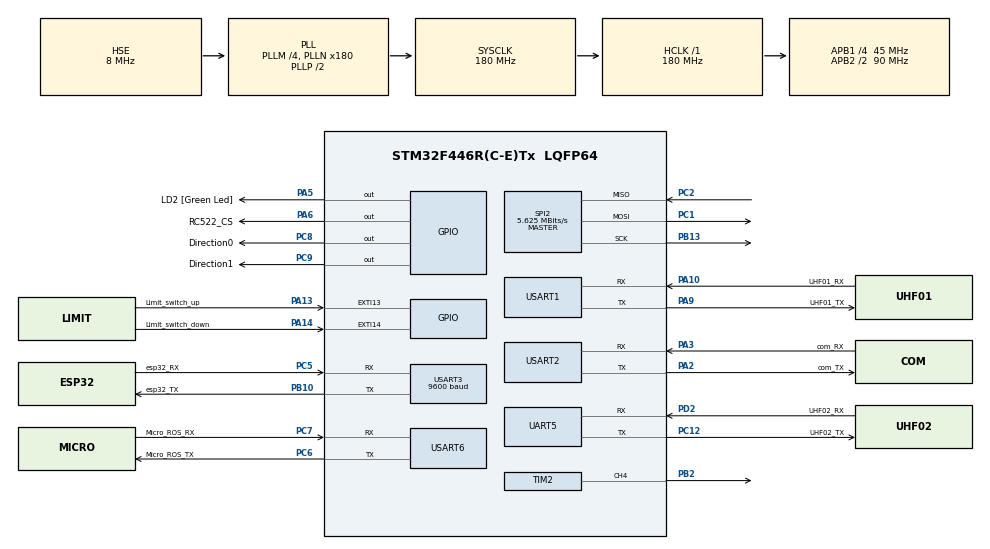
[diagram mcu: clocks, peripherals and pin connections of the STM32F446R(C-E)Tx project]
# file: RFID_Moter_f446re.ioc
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Dma.Request0=USART1_RX
Dma.Request1=USART2_RX
Dma.Request2=USART6_RX
Dma.Request3=USART6_TX
Dma.Request4=UART5_RX
Dma.UART5_RX.4.Direction=DMA_PERIPH_TO_MEMORY
Dma.UART5_RX.4.FIFOMode=DMA_FIFOMODE_DISABLE
Dma.UART5_RX.4.Instance=DMA1_Stream0
Dma.UART5_RX.4.MemDataAlignment=DMA_MDATAALIGN_BYTE
Dma.UART5_RX.4.MemInc=DMA_MINC_ENABLE
Dma.UART5_RX.4.Mode=DMA_CIRCULAR
Dma.UART5_RX.4.PeriphDataAlignment=DMA_PDATAALIGN_BYTE
Dma.UART5_RX.4.PeriphInc=DMA_PINC_DISABLE
Dma.UART5_RX.4.Priority=DMA_PRIORITY_LOW
Dma.USART1_RX.0.Direction=DMA_PERIPH_TO_MEMORY
Dma.USART1_RX.0.FIFOMode=DMA_FIFOMODE_DISABLE
Dma.USART1_RX.0.Instance=DMA2_Stream5
Dma.USART1_RX.0.MemDataAlignment=DMA_MDATAALIGN_BYTE
Dma.USART1_RX.0.MemInc=DMA_MINC_ENABLE
Dma.USART1_RX.0.Mode=DMA_CIRCULAR
Dma.USART1_RX.0.PeriphDataAlignment=DMA_PDATAALIGN_BYTE
Dma.USART1_RX.0.PeriphInc=DMA_PINC_DISABLE
Dma.USART1_RX.0.Priority=DMA_PRIORITY_LOW
Dma.USART2_RX.1.Direction=DMA_PERIPH_TO_MEMORY
Dma.USART2_RX.1.FIFOMode=DMA_FIFOMODE_DISABLE
Dma.USART2_RX.1.Instance=DMA1_Stream5
Dma.USART2_RX.1.MemDataAlignment=DMA_MDATAALIGN_BYTE
Dma.USART2_RX.1.MemInc=DMA_MINC_ENABLE
Dma.USART2_RX.1.Mode=DMA_NORMAL
Dma.USART2_RX.1.PeriphDataAlignment=DMA_PDATAALIGN_BYTE
Dma.USART2_RX.1.PeriphInc=DMA_PINC_DISABLE
Dma.USART2_RX.1.Priority=DMA_PRIORITY_LOW
Dma.USART6_RX.2.Direction=DMA_PERIPH_TO_MEMORY
Dma.USART6_RX.2.FIFOMode=DMA_FIFOMODE_DISABLE
Dma.USART6_RX.2.Instance=DMA2_Stream1
Dma.USART6_RX.2.MemDataAlignment=DMA_MDATAALIGN_BYTE
Dma.USART6_RX.2.MemInc=DMA_MINC_ENABLE
Dma.USART6_RX.2.Mode=DMA_CIRCULAR
Dma.USART6_RX.2.PeriphDataAlignment=DMA_PDATAALIGN_BYTE
Dma.USART6_RX.2.PeriphInc=DMA_PINC_DISABLE
Dma.USART6_RX.2.Priority=DMA_PRIORITY_VERY_HIGH
Dma.USART6_TX.3.Direction=DMA_MEMORY_TO_PERIPH
Dma.USART6_TX.3.FIFOMode=DMA_FIFOMODE_DISABLE
Dma.USART6_TX.3.Instance=DMA2_Stream6
Dma.USART6_TX.3.MemDataAlignment=DMA_MDATAALIGN_BYTE
Dma.USART6_TX.3.MemInc=DMA_MINC_ENABLE
Dma.USART6_TX.3.Mode=DMA_NORMAL
Dma.USART6_TX.3.PeriphDataAlignment=DMA_PDATAALIGN_BYTE
Dma.USART6_TX.3.PeriphInc=DMA_PINC_DISABLE
Dma.USART6_TX.3.Priority=DMA_PRIORITY_LOW
FREERTOS.Tasks01=defaultTask,0,128,StartDefaultTask,Default,NULL,Dynamic,NULL,NULL;rfidExecuteTask,0,128,StartRfidExecuteTask,Default,NULL,Dynamic,NULL,NULL;tagNumTransmitT,0,128,StartTagNumTransmitTask,Default,NULL,Dynamic,NULL,NULL;rc522_read,0,128,rc522_readTask,Default,NULL,Dynamic,NULL,NULL;motorTask,-2,128,controlmotor,Default,NULL,Dynamic,NULL,NULL;transmitTask2,0,128,StarttransmitTask2,Default,NULL,Dynamic,NULL,NULL;RosTask,-2,3000,StartRosTask,Default,NULL,Static,RosTaskBuffer,RosTaskControlBlock
FREERTOS.configUSE_NEWLIB_REENTRANT=1
Mcu.Family=STM32F4
Mcu.Name=STM32F446R(C-E)Tx
Mcu.Package=LQFP64
NVIC.DMA1_Stream0_IRQn=true\:5\:0\:false\:false\:true\:true\:false\:true\:true
NVIC.DMA1_Stream5_IRQn=true\:5\:0\:false\:false\:true\:true\:false\:true\:true
NVIC.DMA2_Stream1_IRQn=true\:5\:0\:false\:false\:true\:true\:false\:true\:true
NVIC.DMA2_Stream5_IRQn=true\:5\:0\:false\:false\:true\:false\:false\:true\:true
NVIC.DMA2_Stream6_IRQn=true\:5\:0\:false\:false\:true\:true\:false\:true\:true
NVIC.EXTI15_10_IRQn=true\:5\:0\:false\:false\:true\:true\:true\:true\:true
NVIC.PriorityGroup=NVIC_PRIORITYGROUP_4
NVIC.SPI2_IRQn=true\:5\:0\:false\:false\:true\:true\:true\:true\:true
NVIC.TIM4_IRQn=true\:15\:0\:false\:false\:true\:false\:false\:true\:true
NVIC.TimeBase=TIM4_IRQn
NVIC.TimeBaseIP=TIM4
NVIC.USART1_IRQn=true\:5\:0\:false\:false\:true\:true\:true\:true\:true
NVIC.USART3_IRQn=true\:5\:0\:false\:false\:true\:true\:true\:true\:true
NVIC.USART6_IRQn=true\:5\:0\:false\:false\:true\:true\:true\:true\:true
PA10.GPIO_Label=UHF01_RX
PA10.Mode=Asynchronous
PA10.Signal=USART1_RX
PA13.GPIO_Label=Limit_switch_up
PA13.GPIO_PuPd=GPIO_PULLUP
PA13.Signal=GPXTI13
PA14.GPIO_Label=Limit_switch_down
PA14.GPIO_PuPd=GPIO_PULLDOWN
PA14.Signal=GPXTI14
PA2.GPIO_Label=com_TX
PA2.Mode=Asynchronous
PA2.Signal=USART2_TX
PA3.GPIO_Label=com_RX
PA3.Mode=Asynchronous
PA3.Signal=USART2_RX
PA5.GPIO_Label=LD2 [Green Led]
PA5.Signal=GPIO_Output
PA6.GPIO_Label=RC522_CS
PA6.Signal=GPIO_Output
PA9.GPIO_Label=UHF01_TX
PA9.Mode=Asynchronous
PA9.Signal=USART1_TX
PB10.GPIO_Label=esp32_TX
PB10.Mode=Asynchronous
PB10.Signal=USART3_TX
PB13.Mode=Full_Duplex_Master
PB13.Signal=SPI2_SCK
PB2.Signal=S_TIM2_CH4
PC1.Mode=Full_Duplex_Master
PC1.Signal=SPI2_MOSI
PC12.GPIO_Label=UHF02_TX
PC12.Mode=Asynchronous
PC12.Signal=UART5_TX
PC14-OSC32_IN.Mode=LSE-External-Oscillator
PC14-OSC32_IN.Signal=RCC_OSC32_IN
PC15-OSC32_OUT.Mode=LSE-External-Oscillator
PC15-OSC32_OUT.Signal=RCC_OSC32_OUT
PC2.Mode=Full_Duplex_Master
PC2.Signal=SPI2_MISO
PC5.GPIO_Label=esp32_RX
PC5.Mode=Asynchronous
PC5.Signal=USART3_RX
PC6.GPIO_Label=Micro_ROS_TX
PC6.Mode=Asynchronous
PC6.Signal=USART6_TX
PC7.GPIO_Label=Micro_ROS_RX
PC7.Mode=Asynchronous
PC7.Signal=USART6_RX
PC8.GPIO_Label=Direction0
PC8.GPIO_PuPd=GPIO_PULLUP
PC8.Signal=GPIO_Output
PC9.GPIO_Label=Direction1
PC9.GPIO_PuPd=GPIO_PULLUP
PC9.Signal=GPIO_Output
PD2.GPIO_Label=UHF02_RX
PD2.Mode=Asynchronous
PD2.Signal=UART5_RX
PH0-OSC_IN.Mode=HSE-External-Oscillator
PH0-OSC_IN.Signal=RCC_OSC_IN
PH1-OSC_OUT.Mode=HSE-External-Oscillator
PH1-OSC_OUT.Signal=RCC_OSC_OUT
ProjectManager.HeapSize=0x200
ProjectManager.StackSize=0x400
ProjectManager.TargetToolchain=STM32CubeIDE
RCC.48MHZClocksFreq_Value=84000000
RCC.AHBFreq_Value=180000000
RCC.APB1CLKDivider=RCC_HCLK_DIV4
RCC.APB1Freq_Value=45000000
RCC.APB1TimFreq_Value=90000000
RCC.APB2CLKDivider=RCC_HCLK_DIV2
RCC.APB2Freq_Value=90000000
RCC.APB2TimFreq_Value=180000000
RCC.CortexFreq_Value=180000000
RCC.FLatency-AdvancedSettings=FLASH_LATENCY_5
RCC.HCLKFreq_Value=180000000
RCC.HSE_VALUE=8000000
RCC.HSI_VALUE=16000000
RCC.PLLM=4
RCC.PLLN=180
RCC.PLLSourceVirtual=RCC_PLLSOURCE_HSE
RCC.SYSCLKFreq_VALUE=180000000
RCC.SYSCLKSource=RCC_SYSCLKSOURCE_PLLCLK
RCC.USBFreq_Value=180000000
RCC.VCOOutputFreq_Value=360000000
SH.S_TIM2_CH4.0=TIM2_CH4,PWM Generation4 CH4
SPI2.BaudRatePrescaler=SPI_BAUDRATEPRESCALER_8
SPI2.CalculateBaudRate=5.625 MBits/s
SPI2.Direction=SPI_DIRECTION_2LINES
SPI2.Mode=SPI_MODE_MASTER
SPI2.VirtualType=VM_MASTER
TIM2.Channel-PWM\ Generation4\ CH4=TIM_CHANNEL_4
TIM2.Period=1000
TIM2.Prescaler=90-1
UART5.VirtualMode=Asynchronous
USART1.VirtualMode=VM_ASYNC
USART2.VirtualMode=VM_ASYNC
USART3.BaudRate=9600
USART3.VirtualMode=VM_ASYNC
USART6.VirtualMode=VM_ASYNC
VP_FREERTOS_VS_CMSIS_V1.Mode=CMSIS_V1
VP_SYS_VS_tim4.Mode=TIM4
board=NUCLEO-F446RE

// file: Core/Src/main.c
/* USER CODE BEGIN Header */
/**
  ******************************************************************************
  * @file           : main.c
  * @brief          : Main program body
  ******************************************************************************
  * @attention
  *
  * Copyright (c) 2024 STMicroelectronics.
  * All rights reserved.
  *
  * This software is licensed under terms that can be found in the LICENSE file
  * in the root directory of this software component.
  * If no LICENSE file comes with this software, it is provided AS-IS.
  *
  ******************************************************************************
  */
/* USER CODE END Header */
#include "main.h"
#include "cmsis_os.h"
#include "dma.h"
#include "spi.h"
#include "tim.h"
#include "usart.h"
#include "gpio.h"

/* USER CODE BEGIN Includes */
#include "rc522.h"
#include "uart_receive_dma.h"
#include "scan_motor.h"
#include "stm32f4xx_hal_spi.h"
/* USER CODE END Includes */

/* USER CODE BEGIN PV */
extern int limit_switch_up;
extern int limit_switch_down;
extern osThreadId motorTaskHandle;
extern osThreadId rfidExecuteTaskHandle;
/* USER CODE END PV */

void SystemClock_Config(void);
void MX_FREERTOS_Init(void);

/* USER CODE BEGIN 0 */
extern SPI_HandleTypeDef hspi2;
uint8_t rc522_rx_buf[100];
uint8_t cardstr[17];

void HAL_GPIO_EXTI_Callback(uint16_t GPIO_Pin){
	static uint32_t before_tick1 = 0;
	static uint32_t before_tick2 = 0;

	if(GPIO_Pin == Limit_switch_up_Pin){
		if(HAL_GetTick() - before_tick1 >= 300){
			before_tick1 = HAL_GetTick();
			TIM2->CCR4 = 0;
			limit_switch_up = 1;
			limit_switch_down = 0;
		}
	}else if(GPIO_Pin == Limit_switch_down_Pin){
		if(HAL_GetTick() - before_tick2 >= 300){
			before_tick2 = HAL_GetTick();
			TIM2->CCR4 = 0;
			limit_switch_down = 1;
			limit_switch_up = 0;
		}
	}
}

/* USER CODE END 0 */

int main(void)
{

  /* MCU Configuration--------------------------------------------------------*/

  /* Reset of all peripherals, Initializes the Flash interface and the Systick. */
  HAL_Init();

  /* Configure the system clock */
  SystemClock_Config();

  /* Initialize all configured peripherals */
  MX_GPIO_Init();
  MX_DMA_Init();
  MX_USART2_UART_Init();
  MX_USART1_UART_Init();
  MX_USART3_UART_Init();
  MX_SPI2_Init();
  MX_USART6_UART_Init();
  MX_UART5_Init();
  MX_TIM2_Init();
  /* USER CODE BEGIN 2 */
  uart_init();
  uart2_init();
  MFRC522_Init();
  HAL_TIM_PWM_Start(&htim2, TIM_CHANNEL_4);
  HAL_GPIO_WritePin(Direction0_GPIO_Port, Direction0_Pin, GPIO_PIN_SET);
  HAL_GPIO_WritePin(Direction1_GPIO_Port, Direction1_Pin, GPIO_PIN_RESET);
//  HAL_SPI_Receive_IT(&hspi2,rc522_rx_buf,sizeof(rc522_rx_buf));

  /* USER CODE END 2 */

  /* Call init function for freertos objects (in cmsis_os2.c) */
  MX_FREERTOS_Init();

  /* Start scheduler */
  osKernelStart();

  /* We should never get here as control is now taken by the scheduler */

  /* Infinite loop */
  while (1)
  {

  }
}

void SystemClock_Config(void)
{
  RCC_OscInitTypeDef RCC_OscInitStruct = {0};
  RCC_ClkInitTypeDef RCC_ClkInitStruct = {0};

  /** Configure the main internal regulator output voltage
  */
  __HAL_RCC_PWR_CLK_ENABLE();
  __HAL_PWR_VOLTAGESCALING_CONFIG(PWR_REGULATOR_VOLTAGE_SCALE1);

  /** Initializes the RCC Oscillators according to the specified parameters
  * in the RCC_OscInitTypeDef structure.
  */
  RCC_OscInitStruct.OscillatorType = RCC_OSCILLATORTYPE_HSE;
  RCC_OscInitStruct.HSEState = RCC_HSE_ON;
  RCC_OscInitStruct.PLL.PLLState = RCC_PLL_ON;
  RCC_OscInitStruct.PLL.PLLSource = RCC_PLLSOURCE_HSE;
  RCC_OscInitStruct.PLL.PLLM = 4;
  RCC_OscInitStruct.PLL.PLLN = 180;
  RCC_OscInitStruct.PLL.PLLP = RCC_PLLP_DIV2;
  RCC_OscInitStruct.PLL.PLLQ = 2;
  RCC_OscInitStruct.PLL.PLLR = 2;
  if (HAL_RCC_OscConfig(&RCC_OscInitStruct) != HAL_OK)
  {
    Error_Handler();
  }

  /** Activate the Over-Drive mode
  */
  if (HAL_PWREx_EnableOverDrive() != HAL_OK)
  {
    Error_Handler();
  }

  /** Initializes the CPU, AHB and APB buses clocks
  */
  RCC_ClkInitStruct.ClockType = RCC_CLOCKTYPE_HCLK|RCC_CLOCKTYPE_SYSCLK
                              |RCC_CLOCKTYPE_PCLK1|RCC_CLOCKTYPE_PCLK2;
  RCC_ClkInitStruct.SYSCLKSource = RCC_SYSCLKSOURCE_PLLCLK;
  RCC_ClkInitStruct.AHBCLKDivider = RCC_SYSCLK_DIV1;
  RCC_ClkInitStruct.APB1CLKDivider = RCC_HCLK_DIV4;
  RCC_ClkInitStruct.APB2CLKDivider = RCC_HCLK_DIV2;

  if (HAL_RCC_ClockConfig(&RCC_ClkInitStruct, FLASH_LATENCY_5) != HAL_OK)
  {
    Error_Handler();
  }
}

/* USER CODE BEGIN 4 */
//HAL_SPI_RxCpltCallback(SPI_HandleTypeDef *hspi){
//	HAL_UART_Transmit(&huart2, rc522_rx_buf,sizeof(rc522_rx_buf) , 500);
//}

/* USER CODE END 4 */

void HAL_TIM_PeriodElapsedCallback(TIM_HandleTypeDef *htim)
{
  if (htim->Instance == TIM4) {
    HAL_IncTick();
  }
}

void Error_Handler(void)
{
  __disable_irq();
  while (1)
  {
  }
}

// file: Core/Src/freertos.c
/* USER CODE BEGIN Header */
/**
  ******************************************************************************
  * File Name          : freertos.c
  * Description        : Code for freertos applications
  ******************************************************************************
  * @attention
  *
  * Copyright (c) 2024 STMicroelectronics.
  * All rights reserved.
  *
  * This software is licensed under terms that can be found in the LICENSE file
  * in the root directory of this software component.
  * If no LICENSE file comes with this software, it is provided AS-IS.
  *
  ******************************************************************************
  */
/* USER CODE END Header */

#include "FreeRTOS.h"
#include "task.h"
#include "main.h"
#include "cmsis_os.h"

/* USER CODE BEGIN Includes */
#include "uart_receive_dma.h"
#include "usart.h"
#include "rc522.h"
#include "scan_motor.h"

#include <rcl/rcl.h>
#include <rcl/error_handling.h>
#include <rclc/rclc.h>
#include <rclc/executor.h>
#include <uxr/client/transport.h>
#include <rmw_microxrcedds_c/config.h>
#include <rmw_microros/rmw_microros.h>

#include <std_msgs/msg/string.h>
#include <sensor_msgs/msg/imu.h>

#include <stdio.h>
#include <string.h>
/* USER CODE END Includes */

/* USER CODE BEGIN PM */
rcl_publisher_t publisher_string_scan;
rcl_publisher_t publisher_string_pos;
std_msgs__msg__String pub_str_msg;
std_msgs__msg__String pub_str_pos;
/* USER CODE END PM */

/* USER CODE BEGIN Variables */
extern UART_HandleTypeDef huart1;
extern UART_HandleTypeDef huart2;
extern UART_HandleTypeDef huart5;
extern UART_HandleTypeDef huart6;
extern queue8_t uart_queue;
extern queue8_t uart5_queue;

extern TIM_HandleTypeDef htim1;
#define transmitSignal 0x0001
#define transmitSignal2 0x0002
#define transmitSignal5 0x0005

uint8_t canTxData[8];
uint32_t	TxMailBox;
int motor_status = 0;
/* USER CODE END Variables */
osThreadId defaultTaskHandle;
osThreadId rfidExecuteTaskHandle;
osThreadId tagNumTransmitTHandle;
osThreadId rc522_readHandle;
osThreadId motorTaskHandle;
osThreadId transmitTask2Handle;
osThreadId RosTaskHandle;
uint32_t RosTaskBuffer[ 3000 ];
osStaticThreadDef_t RosTaskControlBlock;

void StartDefaultTask(void const * argument);
void StartRfidExecuteTask(void const * argument);
void StartTagNumTransmitTask(void const * argument);
void rc522_readTask(void const * argument);
void controlmotor(void const * argument);
void StarttransmitTask2(void const * argument);
void StartRosTask(void const * argument);

void MX_FREERTOS_Init(void); /* (MISRA C 2004 rule 8.1) */

/* GetIdleTaskMemory prototype (linked to static allocation support) */
void vApplicationGetIdleTaskMemory( StaticTask_t **ppxIdleTaskTCBBuffer, StackType_t **ppxIdleTaskStackBuffer, uint32_t *pulIdleTaskStackSize );

/* USER CODE BEGIN GET_IDLE_TASK_MEMORY */
static StaticTask_t xIdleTaskTCBBuffer;
static StackType_t xIdleStack[configMINIMAL_STACK_SIZE];

void vApplicationGetIdleTaskMemory( StaticTask_t **ppxIdleTaskTCBBuffer, StackType_t **ppxIdleTaskStackBuffer, uint32_t *pulIdleTaskStackSize )
{
  *ppxIdleTaskTCBBuffer = &xIdleTaskTCBBuffer;
  *ppxIdleTaskStackBuffer = &xIdleStack[0];
  *pulIdleTaskStackSize = configMINIMAL_STACK_SIZE;
  /* place for user code */
}
/* USER CODE END GET_IDLE_TASK_MEMORY */

void MX_FREERTOS_Init(void) {

  /* Create the thread(s) */
  /* definition and creation of defaultTask */
  osThreadDef(defaultTask, StartDefaultTask, osPriorityNormal, 0, 128);
  defaultTaskHandle = osThreadCreate(osThread(defaultTask), NULL);

  /* definition and creation of rfidExecuteTask */
  osThreadDef(rfidExecuteTask, StartRfidExecuteTask, osPriorityNormal, 0, 128);
  rfidExecuteTaskHandle = osThreadCreate(osThread(rfidExecuteTask), NULL);

  /* definition and creation of tagNumTransmitT */
  osThreadDef(tagNumTransmitT, StartTagNumTransmitTask, osPriorityNormal, 0, 128);
  tagNumTransmitTHandle = osThreadCreate(osThread(tagNumTransmitT), NULL);

  /* definition and creation of rc522_read */
  osThreadDef(rc522_read, rc522_readTask, osPriorityNormal, 0, 128);
  rc522_readHandle = osThreadCreate(osThread(rc522_read), NULL);

  /* definition and creation of motorTask */
  osThreadDef(motorTask, controlmotor, osPriorityLow, 0, 128);
  motorTaskHandle = osThreadCreate(osThread(motorTask), NULL);

  /* definition and creation of transmitTask2 */
  osThreadDef(transmitTask2, StarttransmitTask2, osPriorityNormal, 0, 128);
  transmitTask2Handle = osThreadCreate(osThread(transmitTask2), NULL);

  /* definition and creation of RosTask */
  osThreadStaticDef(RosTask, StartRosTask, osPriorityLow, 0, 3000, RosTaskBuffer, &RosTaskControlBlock);
  RosTaskHandle = osThreadCreate(osThread(RosTask), NULL);

}

void StartDefaultTask(void const * argument)
{
  /* USER CODE BEGIN StartDefaultTask */
  /* Infinite loop */
  for(;;)
  {
	read_rfid_number();
	read_rfid_number5();
	read_command();
    osDelay(1);
  }
  /* USER CODE END StartDefaultTask */
}

void StartRfidExecuteTask(void const * argument)
{
  /* USER CODE BEGIN StartRfidExecuteTask */
	  uint8_t read_tag_single_time[] = {0xBB, 0x00, 0x22, 0x00, 0x00, 0x22, 0x7E};
	  vTaskSuspend(rfidExecuteTaskHandle);
	  /* Infinite loop */
	  for(;;)
	  {
		HAL_UART_Transmit(&huart1, read_tag_single_time, sizeof(read_tag_single_time), HAL_MAX_DELAY);
		HAL_UART_Transmit(&huart5, read_tag_single_time, sizeof(read_tag_single_time), HAL_MAX_DELAY);
		//vTaskResume(defaultTaskHandle);
	    osDelay(300);
	  }
  /* USER CODE END StartRfidExecuteTask */
}

void StartTagNumTransmitTask(void const * argument)
{
  /* USER CODE BEGIN StartTagNumTransmitTask */
  /* Infinite loop */
  osEvent event;
  osEvent event2;
  for(;;)
  {
	event = osSignalWait(transmitSignal, 100);
	if(event.value.signals == transmitSignal){
		transmitData();
		}
	event2 = osSignalWait(transmitSignal5, 100);
	if(event.value.signals == transmitSignal5){
		transmitData5();
	}
	osDelay(1);
  }

  /* USER CODE END StartTagNumTransmitTask */
}

void rc522_readTask(void const * argument)
{
  /* USER CODE BEGIN rc522_readTask */
  uint8_t status,cardstr[16] = {0,};

  /* Infinite loop */
  for(;;)
  {

	if(MFRC522_Request(PICC_REQIDL, cardstr) == MI_OK){
		status = MFRC522_Anticoll(cardstr);
		if(status == MI_OK){
			HAL_UART_Transmit(&huart2, cardstr, 5, 500);
		}
	}
	osDelay(300);
  }
  /* USER CODE END rc522_readTask */
}

void controlmotor(void const * argument)
{
  /* USER CODE BEGIN controlmotor */
  /* Infinite loop */
	vTaskSuspend(motorTaskHandle);
  /* Infinite loop */
  for(;;)
  {
	  if(motor_status == 0){
		  scan_motor_up();
	  }else if(motor_status == 1){
		  scan_motor_down();
	  }
	  osDelay(100);
  }
  /* USER CODE END controlmotor */
}

void StarttransmitTask2(void const * argument)
{
  /* USER CODE BEGIN StarttransmitTask2 */
	osEvent event;
  /* Infinite loop */
	  for(;;)
	  {
		  event = osSignalWait(transmitSignal2, 100);
		  if(event.value.signals == transmitSignal2){
			  transmitCommand();
		  }
		  osDelay(1);
	  }
  /* USER CODE END StarttransmitTask2 */
}

/* USER CODE BEGIN Header_StartRosTask */
void * microros_allocate(size_t size, void * state);
void microros_deallocate(void * pointer, void * state);
void * microros_reallocate(void * pointer, size_t size, void * state);
void * microros_zero_allocate(size_t number_of_elements, size_t size_of_element, void * state);
bool cubemx_transport_open(struct uxrCustomTransport * transport);
bool cubemx_transport_close(struct uxrCustomTransport * transport);
size_t cubemx_transport_write(struct uxrCustomTransport* transport, const uint8_t * buf, size_t len, uint8_t * err);
size_t cubemx_transport_read(struct uxrCustomTransport* transport, uint8_t* buf, size_t len, int timeout, uint8_t* err);
#define ARRAY_LEN 200
#define RCCHECK(fn) { rcl_ret_t temp_rc = fn; if((temp_rc != RCL_RET_OK)){printf("Failed status on line %d: %d. Aborting.\n",__LINE__,(int)temp_rc); return 1;}}
#define RCSOFTCHECK(fn) { rcl_ret_t temp_rc = fn; if((temp_rc != RCL_RET_OK)){printf("Failed status on line %d: %d. Continuing.\n",__LINE__,(int)temp_rc);}}

void subscription_str_callback(const void * msgin)
{
  std_msgs__msg__String * msg = (std_msgs__msg__String *)msgin;
  pub_str_msg = *msg;
  char str[100];
  strcpy(str, msg->data.data);
  if(!strcmp(str,"scan")){
	  sprintf(pub_str_msg.data.data, "launch", str);
	  vTaskResume(motorTaskHandle);
	  vTaskResume(rfidExecuteTaskHandle);
  }else{
	  sprintf(pub_str_msg.data.data, "F446RE heard: %s", str);
  }
  //sprintf(pub_str_msg.data.data, "F446RE heard: %s", str);
  pub_str_msg.data.size = strlen(pub_str_msg.data.data);
  //rcl_publish(&publisher_string_scan, &pub_str_msg, NULL);
  //Publisher_state();
  //debug_led();
}

void debug_led()
{
  HAL_GPIO_WritePin(GPIOA, GPIO_PIN_5, GPIO_PIN_SET); //LED turned on
  HAL_Delay(200); //Wait for 200[ms]
  HAL_GPIO_WritePin(GPIOA, GPIO_PIN_5, GPIO_PIN_RESET); //LED turned off
  HAL_Delay(200);
}

/**
* @brief Function implementing the RosTask thread.
* @param argument: Not used
* @retval None
*/
/* USER CODE END Header_StartRosTask */
void StartRosTask(void const * argument)
{
  /* USER CODE BEGIN StartRosTask */
	  // micro-ROS configuration
	  char test_array[ARRAY_LEN];
	  memset(test_array,'z',ARRAY_LEN);

	  rmw_uros_set_custom_transport(
	    true,
	    (void *) &huart6,
	    cubemx_transport_open,
	    cubemx_transport_close,
	    cubemx_transport_write,
	    cubemx_transport_read);

	  rcl_allocator_t freeRTOS_allocator = rcutils_get_zero_initialized_allocator();
	  freeRTOS_allocator.allocate = microros_allocate;
	  freeRTOS_allocator.deallocate = microros_deallocate;
	  freeRTOS_allocator.reallocate = microros_reallocate;
	  freeRTOS_allocator.zero_allocate =  microros_zero_allocate;

	  if (!rcutils_set_default_allocator(&freeRTOS_allocator)) {
	    printf("Error on default allocators (line %d)\n", __LINE__);
	  }

	  rcl_subscription_t subscriber_oper;
	  std_msgs__msg__String sub_str_msg;
	  sensor_msgs__msg__Imu sub_imu_msg;
	  rclc_support_t support;
	  rcl_allocator_t allocator;
	  rcl_node_t node;

	  allocator = rcl_get_default_allocator();

	  // create init_options
	  RCCHECK(rclc_support_init(&support, 0, NULL, &allocator));

	  // create node
	  RCCHECK(rclc_node_init_default(&node, "f446re_node", "", &support));

	  // create publisher
	  RCCHECK(rclc_publisher_init_best_effort(
	    &publisher_string_scan,
	    &node,
	    ROSIDL_GET_MSG_TYPE_SUPPORT(std_msgs, msg, String),
	    "/f446re_scan_status"));

	  RCCHECK(rclc_publisher_init_best_effort(
	    &publisher_string_pos,
	    &node,
	    ROSIDL_GET_MSG_TYPE_SUPPORT(std_msgs, msg, String),
	    "/f446re_nav_pos"));

	  // create subscriber
	  RCCHECK(rclc_subscription_init_default(
	    &subscriber_oper,
	    &node,
	    ROSIDL_GET_MSG_TYPE_SUPPORT(std_msgs, msg, String),
	    "/f446re_scan_oper"));

	  // create executor
	  rclc_executor_t executor = rclc_executor_get_zero_initialized_executor();
	  RCCHECK(rclc_executor_init(&executor, &support.context, 2, &allocator));
	  RCCHECK(rclc_executor_add_subscription(&executor, &subscriber_oper, &sub_str_msg, &subscription_str_callback, ON_NEW_DATA));

	  // initialize message memory
	  pub_str_msg.data.data = (char * ) malloc(ARRAY_LEN * sizeof(char));
	  pub_str_msg.data.size = 0;
	  pub_str_msg.data.capacity = ARRAY_LEN;

	  pub_str_pos.data.data = (char * ) malloc(ARRAY_LEN * sizeof(char));
	  pub_str_pos.data.size = 0;
	  pub_str_pos.data.capacity = ARRAY_LEN;

	  sub_str_msg.data.data = (char * ) malloc(ARRAY_LEN * sizeof(char));
	  sub_str_msg.data.size = 0;
	  sub_str_msg.data.capacity = ARRAY_LEN;

	  sub_imu_msg.header.frame_id.capacity = 100;
	  sub_imu_msg.header.frame_id.data =(char * ) malloc(100 * sizeof(char));
	  sub_imu_msg.header.frame_id.size = 0;

	  // execute subscriber
	  rclc_executor_spin(&executor);
	  // cleaning Up
	  RCCHECK(rcl_publisher_fini(&publisher_string_scan, &node));
	  RCCHECK(rcl_publisher_fini(&publisher_string_pos, &node));
	  RCCHECK(rcl_subscription_fini(&subscriber_oper, &node));
	  RCCHECK(rcl_node_fini(&node));
  /* Infinite loop */
  for(;;)
  {
    osDelay(1);
  }
  /* USER CODE END StartRosTask */
}
